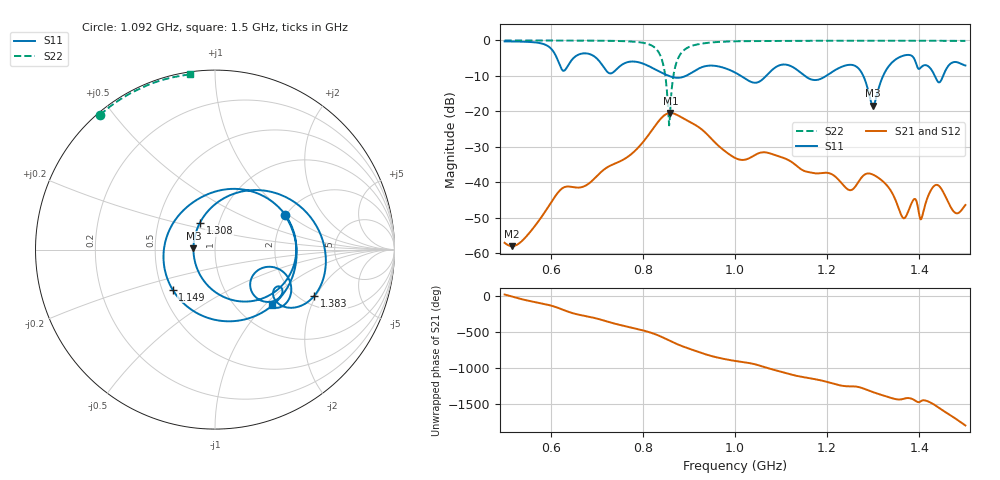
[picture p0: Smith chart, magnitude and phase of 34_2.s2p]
! TOUCHSTONE file generated by CST MICROWAVE STUDIO
! Date and time: Thu Feb 18 07:36:52 2021
! Project name: Scenario_1_Planar_Body_Tissue_Out_of_Line.cst
! Parameters = {L_HA=400; Ltissue=1000; MT=2.54; Rad_Dielectric=30; Rad_Lower=7.3; Rad_Upper=30; Wtissue=1000; a_HA=580; a_WG=246; b_HA=500; b_WG=121; c_HA=0; c_WG=187; d_feed=85; dx1=346; dy1=224.9; h_feed=15; h_lower=18; h_upper=40; hfat=3; hgap=25; hmuscle=50; hskin=1.5}
! Header version: 2018
! Port assignment regex: !\s*Touchstone port\s*([0-9]+)\s*=\s*(CST MWS port|CST DS port)\s*([0-9]+|Zmin|Zmax)\s*\(\"(.*)\"\)(\s*mode\s*([0-9]+))?.*
! Touchstone port assignment:
! Touchstone port 1 = CST MWS port 1 ("")
! Touchstone port 2 = CST MWS port 2 ("")
# GHz S DB R 50
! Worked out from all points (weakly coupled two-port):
!   1003 points, 500 MHz to 1.5 GHz, reference 50 ohm
!   highest |S21| = -20.48 dB at 860 MHz (marker M1); lowest = -58.1 dB at 516 MHz (marker M2)
!   lowest |S11| = -18.4 dB at 1.3 GHz (marker M3), VSWR 1.27, Z = 39.3 + j0.506 ohm
!   |S11| at or under -10 dB: 1.013 GHz to 1.068 GHz (54.91 MHz wide, 5.28 % of centre); 1.151 GHz to 1.198 GHz (46.54 MHz wide, 3.96 % of centre); 1.278 GHz to 1.321 GHz (43.01 MHz wide, 3.31 % of centre)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
!   |S22| runs from -24.0 to 0.0 dB; largest |S21 - S12| = 3.6e-06
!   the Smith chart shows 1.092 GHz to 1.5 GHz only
!   S11 on the Smith chart (normalised r, x): 1.092 GHz: 1.97, +0.94; 1.149 GHz: 0.57, -0.28; 1.308 GHz: 0.81, +0.25; 1.383 GHz: 2.35, -1.93; 1.5 GHz: 1.43, -1.10
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0.5  -0.27 -121.6  -57.10 18.0  -57.10 18.0  -0.01 151.1
0.516  -0.29 -128.3  -58.05 -9.6  -58.05 -9.6  -0.01 150.1
0.667  -3.73 158.2  -41.40 89.8  -41.40 89.8  -0.04 138.4
0.696  -4.64 101.0  -38.84 51.2  -38.84 51.2  -0.06 135.3
0.718  -8.10 22.3  -36.21 12.2  -36.21 12.2  -0.09 132.6
0.741  -8.38 -95.1  -34.66 -29.5  -34.66 -29.5  -0.14 129.1
0.769  -6.06 178.0  -32.68 -71.9  -32.68 -71.9  -0.27 123.3
0.834  -8.66 34.8  -22.83 168.7  -22.83 168.7  -3.27 82.6
0.86  -10.17 -33.2  -20.48 90.6  -20.48 90.6  -18.36 -113.6
0.909  -8.86 178.4  -23.50 -33.2  -23.50 -33.2  -1.42 162.4
0.939  -7.18 85.7  -26.43 -97.9  -26.43 -97.9  -0.71 151.9
1  -9.05 -63.7  -33.15 175.8  -33.15 175.8  -0.25 140.2
1.047  -11.90 166.2  -32.07 122.9  -32.07 122.9  -0.18 134.7
1.092  -7.27 26.4  -32.56 38.9  -32.56 38.9  -0.13 130.5
1.149  -9.77 -136.8  -36.76 -49.5  -36.76 -49.5  -0.10 125.6
1.167  -11.07 169.0  -37.35 -70.1  -37.35 -70.0  -0.09 124.2
1.249  -6.87 3.7  -42.24 -177.2  -42.24 -177.2  -0.08 117.9
1.3  -18.39 177.0  -37.89 101.5  -37.89 101.5  -0.09 114.2
1.308  -15.32 119.4  -38.48 84.0  -38.48 84.0  -0.09 113.6
1.334  -7.22 48.6  -41.60 30.9  -41.60 30.9  -0.08 111.6
1.383  -4.30 -25.1  -45.97 11.2  -45.97 11.2  -0.09 107.8
1.5  -7.07 -44.4  -46.44 -0.7  -46.44 -0.7  -0.13 98.0
